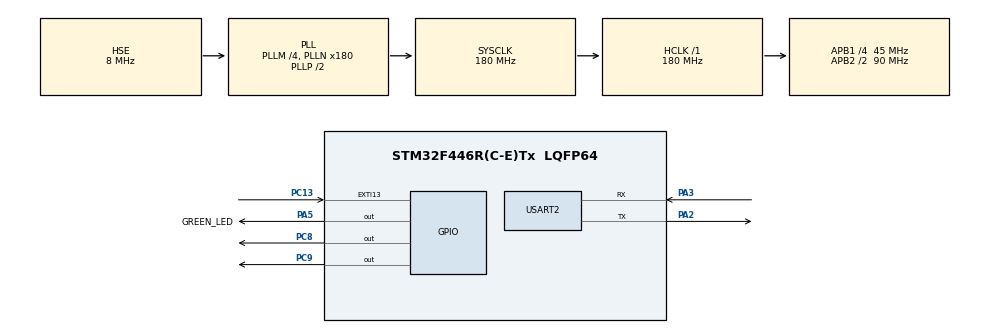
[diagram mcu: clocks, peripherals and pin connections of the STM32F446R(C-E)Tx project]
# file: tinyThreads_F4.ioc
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Mcu.Family=STM32F4
Mcu.Name=STM32F446R(C-E)Tx
Mcu.Package=LQFP64
NVIC.EXTI15_10_IRQn=true\:0\:0\:false\:false\:true\:true\:true\:true
NVIC.PriorityGroup=NVIC_PRIORITYGROUP_4
NVIC.TIM5_IRQn=true\:15\:0\:false\:false\:true\:false\:true\:true
NVIC.TimeBase=TIM5_IRQn
NVIC.TimeBaseIP=TIM5
PA13.Mode=Serial_Wire
PA13.Signal=SYS_JTMS-SWDIO
PA14.Mode=Serial_Wire
PA14.Signal=SYS_JTCK-SWCLK
PA2.Mode=Asynchronous
PA2.Signal=USART2_TX
PA3.Mode=Asynchronous
PA3.Signal=USART2_RX
PA5.GPIO_Label=GREEN_LED
PA5.Signal=GPIO_Output
PC13.Signal=GPXTI13
PC8.Signal=GPIO_Output
PC9.Signal=GPIO_Output
PH0-OSC_IN.Mode=HSE-External-Oscillator
PH0-OSC_IN.Signal=RCC_OSC_IN
PH1-OSC_OUT.Mode=HSE-External-Oscillator
PH1-OSC_OUT.Signal=RCC_OSC_OUT
ProjectManager.HeapSize=0x2000
ProjectManager.StackSize=0x2000
ProjectManager.TargetToolchain=STM32CubeIDE
RCC.AHBFreq_Value=180000000
RCC.APB1CLKDivider=RCC_HCLK_DIV4
RCC.APB1Freq_Value=45000000
RCC.APB1TimFreq_Value=90000000
RCC.APB2CLKDivider=RCC_HCLK_DIV2
RCC.APB2Freq_Value=90000000
RCC.APB2TimFreq_Value=180000000
RCC.CortexFreq_Value=180000000
RCC.HCLKFreq_Value=180000000
RCC.HSE_VALUE=8000000
RCC.PLLM=4
RCC.PLLN=180
RCC.PLLSourceVirtual=RCC_PLLSOURCE_HSE
RCC.SYSCLKFreq_VALUE=180000000
RCC.SYSCLKSource=RCC_SYSCLKSOURCE_PLLCLK
RCC.USBFreq_Value=180000000
RCC.VCOOutputFreq_Value=360000000
USART2.VirtualMode=VM_ASYNC
VP_SYS_VS_tim5.Mode=TIM5
board=custom

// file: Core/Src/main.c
/* USER CODE BEGIN Header */
/**
 ******************************************************************************
 * @file           : main.c
 * @brief          : Main program body
 ******************************************************************************
 * @attention
 *
 * Copyright (c) 2024 STMicroelectronics.
 * All rights reserved.
 *
 * This software is licensed under terms that can be found in the LICENSE file
 * in the root directory of this software component.
 * If no LICENSE file comes with this software, it is provided AS-IS.
 *
 ******************************************************************************
 */
/* USER CODE END Header */
#include "main.h"
#include "gpio.h"
#include "usart.h"

/* USER CODE BEGIN Includes */
#include "errno.h"
#include "stdarg.h"
#include "stdbool.h"
#include "stdint.h"
#include "stdio.h"
#include "string.h"
#include "tinyThreads_core.h"
#include "tinyThreads_error.h"
#include "tinyThreads_thread.h"
#include "tinyThreads_timers.h"
#include "tinyThreads_types.h"
#include <sys/unistd.h> // For STDOUT_FILENO, STDERR_FILENO

/* USER CODE END Includes */

/* USER CODE BEGIN PV */
tinyThread_tcb_idx            thread1_id, thread2_id, thread3_id;
static uint32_t               notifyCounter = 0;
tinyThreadsTime_ms_t          previousTime = 0;
tinyThread_binary_semaphore_t mySemaphore = {true};
// thread 1 stack
uint32_t thread1_stack[200];
// thread 2 stack
uint32_t thread2_stack[200];
// thread 3 stack
uint32_t thread3_stack[200];
// thread 4 stack
uint32_t thread4_stack[200];

static tinyThreadsTime_ms_t previousTimeerTime = 0;

void myTimerCallback(void)
{
    // calcualte elapsed time
    tinyThreadsTime_ms_t currentTime = tt_TimeGetTick();
    printf("Timer callback : %ld\r\n", (int)tt_TimeGetTickElapsedMs(previousTimeerTime));
    previousTimeerTime = currentTime;
}
tinyThread_timer_t mytimer = {TIMER_TYPE_CONTINUOUS, 3000, 3000, myTimerCallback, false};
/* USER CODE END PV */

void SystemClock_Config(void);

/* USER CODE BEGIN 0 */
/*retarget printf */
int _write(int file, char *data, int len)
{
    // Only write to STDOUT and STDERR
    if ((file != STDOUT_FILENO) && (file != STDERR_FILENO))
    {
        errno = EBADF;
        return -1;
    }

    // Transmit data using UART2
    for (int i = 0; i < len; i++)
    {
        // Wait for the transmit buffer to be empty
        while (!(USART2->SR & USART_SR_TXE))
            ;
        // Send the character
        USART2->DR = (uint16_t)data[i];
    }

    // Wait for the transmission of the last byte to complete
    while (!(USART2->SR & USART_SR_TC))
        ;

    return len;
}

void thread1(uint32_t notifyVal)
{
    // static uint32_t prev_runtime = 0;
    while (1)
    {
        if (tt_SemaphoreTake(&mySemaphore, 3000))
        {
            printf("thread1: semaphore taken succesfully\r\n");
            tt_SemaphoreGive(&mySemaphore);
            tt_ThreadSleep(1000);
        }
        else
        {
            printf("thread1: semaphore timedout\r\n");
            tt_ThreadSleep(1000);
        }
    }
}

void thread2(uint32_t notifyal)
{
    volatile uint32_t   counter = 0x42424242;

    while (1)
    {
        printf("thread2\r\n");
        tt_ThreadSleep(1000);
    }
}

void thread3(uint32_t notifyVal)
{
    static uint32_t             counter = 0;
    static uint32_t             newval = 0;
    static tinyThreadsTime_ms_t previousTime = 0;
    while (1)
    {

        tt_ThreadNotifyWait(5000, &newval);

        printf("notifyVal: %d\r\n", (int)newval);
        // print elapsed time
        printf("Elapsed time: %d:%ld\r\n", (int)tt_TimeGetTickElapsedMs(previousTime),
               tt_TimeGetTickApproxJitterMs(previousTime, 5000));
        previousTime = tt_TimeGetTick();
        //   tt_ThreadSleep(500);
    }
}

void thread4(uint32_t notifyVal)
{
    static uint32_t counter = 0;
    static uint32_t newval = 0;
    while (1)
    {
        // toogle led
        HAL_GPIO_TogglePin(GREEN_LED_GPIO_Port, GREEN_LED_Pin);
        tt_ThreadSleep(60);

        // tt_ThreadSleep(500);
    }
}

void EXTI15_10_IRQHandler(void)
{
    HAL_GPIO_EXTI_IRQHandler(GPIO_PIN_13);
    tinyThreadsTime_ms_t currentTime = tt_TimeGetTick();

    if (currentTime - previousTime > 400)
    {
        // previousTime = currentTime;
        // tt_ThreadNotify(thread3_id, notifyCounter++, true);
        previousTimeerTime = currentTime;
        tt_TimerStart(&mytimer);
        tt_SemaphoreGive(&mySemaphore);
    }

    /* USER CODE END EXTI15_10_IRQn 1 */
}
/* USER CODE END 0 */

int main(void)
{

    /* MCU Configuration--------------------------------------------------------*/

    /* Reset of all peripherals, Initializes the Flash interface and the Systick. */
    HAL_Init();

    /* Configure the system clock */
    SystemClock_Config();

    /* Initialize all configured peripherals */
    MX_GPIO_Init();
    MX_USART2_UART_Init();
    /* USER CODE BEGIN 2 */
    //  add user threads
    printf("Start of application %d\r\n", sizeof(tinyThread_tcb_t));

    if (tt_CoreInit() == TINYTHREADS_OK)
    {
        printf("address of stack 1: %p\r\n", thread1_stack);
        thread1_id =
            tt_ThreadAdd(thread1, thread1_stack, sizeof(thread1_stack) / 4, 10, 1, (uint8_t *)"thread 1", true);
        thread2_id =
            tt_ThreadAdd(thread2, thread2_stack, sizeof(thread2_stack) / 4, 10, 1, (uint8_t *)"thread 2", true);
        thread3_id =
            tt_ThreadAdd(thread3, thread3_stack, sizeof(thread3_stack) / 4, 10, 1, (uint8_t *)"thread 3", true);
        thread2_id =
            tt_ThreadAdd(thread4, thread4_stack, sizeof(thread4_stack) / 4, 10, 1, (uint8_t *)"LED thread", true);

        if (thread1_id == TINYTHREADS_MAX_THREADS_REACHED || thread2_id == TINYTHREADS_MAX_THREADS_REACHED ||
            thread3_id == TINYTHREADS_MAX_THREADS_REACHED)
        {
            printf("!!! Error adding threads !!!\r\n");
        }
        tt_CoreRun(); // should not return from this
    }
    else
    {
        printf("!!! Error initializing tinyKernel !!!\r\n");
    }
    /* USER CODE END 2 */

    /* Infinite loop */
    /* USER CODE BEGIN WHILE */
    uint32_t count = 0;
    while (1)
    {
        HAL_GPIO_TogglePin(GPIOA, GPIO_PIN_5);
        printf("Error should not be here %d\r\n", (int)count++);
        HAL_Delay(500);
        /* USER CODE END WHILE */

    }
}

void SystemClock_Config(void)
{
    RCC_OscInitTypeDef RCC_OscInitStruct = {0};
    RCC_ClkInitTypeDef RCC_ClkInitStruct = {0};

    /** Configure the main internal regulator output voltage
     */
    __HAL_RCC_PWR_CLK_ENABLE();
    __HAL_PWR_VOLTAGESCALING_CONFIG(PWR_REGULATOR_VOLTAGE_SCALE1);

    /** Initializes the RCC Oscillators according to the specified parameters
     * in the RCC_OscInitTypeDef structure.
     */
    RCC_OscInitStruct.OscillatorType = RCC_OSCILLATORTYPE_HSE;
    RCC_OscInitStruct.HSEState = RCC_HSE_ON;
    RCC_OscInitStruct.PLL.PLLState = RCC_PLL_ON;
    RCC_OscInitStruct.PLL.PLLSource = RCC_PLLSOURCE_HSE;
    RCC_OscInitStruct.PLL.PLLM = 4;
    RCC_OscInitStruct.PLL.PLLN = 180;
    RCC_OscInitStruct.PLL.PLLP = RCC_PLLP_DIV2;
    RCC_OscInitStruct.PLL.PLLQ = 2;
    RCC_OscInitStruct.PLL.PLLR = 2;
    if (HAL_RCC_OscConfig(&RCC_OscInitStruct) != HAL_OK)
    {
        Error_Handler();
    }

    /** Activate the Over-Drive mode
     */
    if (HAL_PWREx_EnableOverDrive() != HAL_OK)
    {
        Error_Handler();
    }

    /** Initializes the CPU, AHB and APB buses clocks
     */
    RCC_ClkInitStruct.ClockType = RCC_CLOCKTYPE_HCLK | RCC_CLOCKTYPE_SYSCLK | RCC_CLOCKTYPE_PCLK1 | RCC_CLOCKTYPE_PCLK2;
    RCC_ClkInitStruct.SYSCLKSource = RCC_SYSCLKSOURCE_PLLCLK;
    RCC_ClkInitStruct.AHBCLKDivider = RCC_SYSCLK_DIV1;
    RCC_ClkInitStruct.APB1CLKDivider = RCC_HCLK_DIV4;
    RCC_ClkInitStruct.APB2CLKDivider = RCC_HCLK_DIV2;

    if (HAL_RCC_ClockConfig(&RCC_ClkInitStruct, FLASH_LATENCY_5) != HAL_OK)
    {
        Error_Handler();
    }
}

void HAL_TIM_PeriodElapsedCallback(TIM_HandleTypeDef *htim)
{
    if (htim->Instance == TIM5)
    {
        HAL_IncTick();
    }
}

void Error_Handler(void)
{
    __disable_irq();
    while (1)
    {
    }
}
